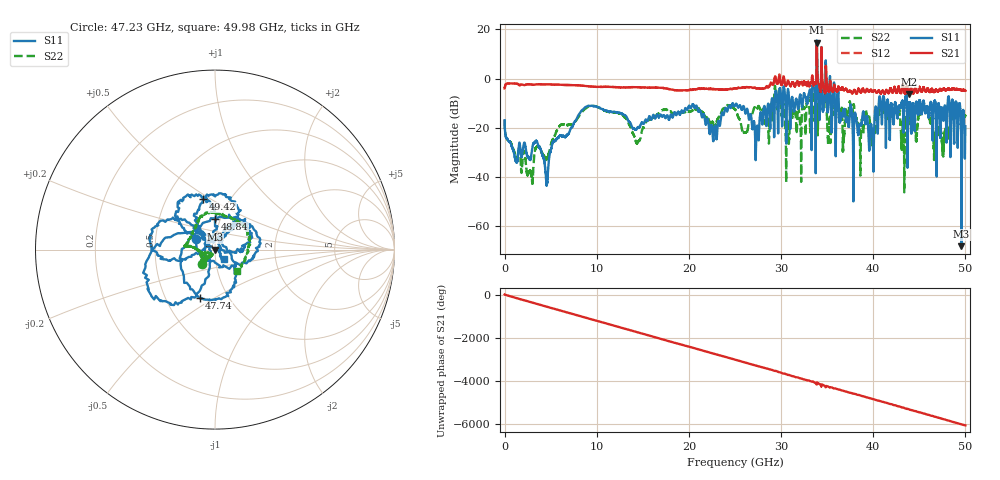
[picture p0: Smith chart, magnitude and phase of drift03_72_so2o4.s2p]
!Created with skrf (http://scikit-rf.org).
# Hz S RI R 50.0
!freq ReS11 ImS11 ReS21 ImS21 ReS12 ImS12 ReS22 ImS22
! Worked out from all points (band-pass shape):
!   10001 points, 300 kHz to 50 GHz, reference 50 ohm
!   highest |S21| = 14.50 dB at 33.88 GHz (marker M1); lowest = -6.2 dB at 43.92 GHz (marker M2)
!   |S21| within 3 dB of the highest: 33.86904 GHz to 33.88793 GHz (18.89 MHz wide, 0.0557 % of centre); 34.37706 GHz to 34.38797 GHz (10.91 MHz wide, 0.0317 % of centre)
!   lowest |S11| = -68.0 dB at 49.58 GHz (marker M3), VSWR 1.00, Z = 50 + j0.00961 ohm
!   |S11| at or under -10 dB: start of sweep to 28.94 GHz; 36.27 GHz to 40.6 GHz (4.334 GHz wide, 11.3 % of centre); 46.74 GHz to 48.08 GHz (1.336 GHz wide, 2.82 % of centre) (the widest 3 of 54)
!   |S22| runs from -46.2 to 11.3 dB; largest |S21 - S12| = 0.78
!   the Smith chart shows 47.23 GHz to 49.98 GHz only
!   S11 on the Smith chart (normalised r, x): 47.23 GHz: 0.80, +0.10; 47.74 GHz: 0.73, -0.43; 48.84 GHz: 0.94, +0.33; 49.42 GHz: 0.75, +0.46; 49.98 GHz: 1.10, -0.12
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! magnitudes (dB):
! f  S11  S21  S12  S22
! 300 kHz  -16.9  -4.0  -4.0  -16.8
! 2.825 GHz  -32.5  -2.4  -2.4  -37.9
! 4.555 GHz  -43.5  -2.3  -2.3  -32.4
! 8.335 GHz  -13.1  -2.8  -2.8  -13.9
! 14.45 GHz  -19.9  -3.5  -3.5  -25.9
! 16.67 GHz  -15.4  -3.7  -3.7  -14.3
! 25 GHz  -11.0  -4.0  -4.0  -12.4
! 27.39 GHz  -19.4  -4.1  -4.1  -12.4
! 29.6 GHz  -10.5  -2.0  -2.1  -11.7
! 30.7 GHz  -5.7  -1.4  -1.5  -17.2
! 33.34 GHz  -14.2  -0.4  -0.5  -7.1
! 33.88 GHz  15.5  14.5  14.2  11.0
! 39.8 GHz  -19.1  -4.8  -4.7  -24.2
! 41.67 GHz  -12.2  -5.9  -5.9  -15.1
! 43.92 GHz  -10.1  -6.2  -6.1  -16.8
! 47.23 GHz  -18.2  -4.3  -4.3  -19.5
! 47.74 GHz  -10.9  -4.2  -4.2  -22.9
! 48.84 GHz  -15.3  -4.2  -4.2  -16.2
! 49.42 GHz  -10.7  -4.5  -4.5  -13.7
! 49.58 GHz  -68.0  -4.7  -4.7  -13.7
! 49.98 GHz  -22.8  -4.9  -4.9  -15.3
! 50 GHz  -19.4  -4.9  -4.9  -15.1
